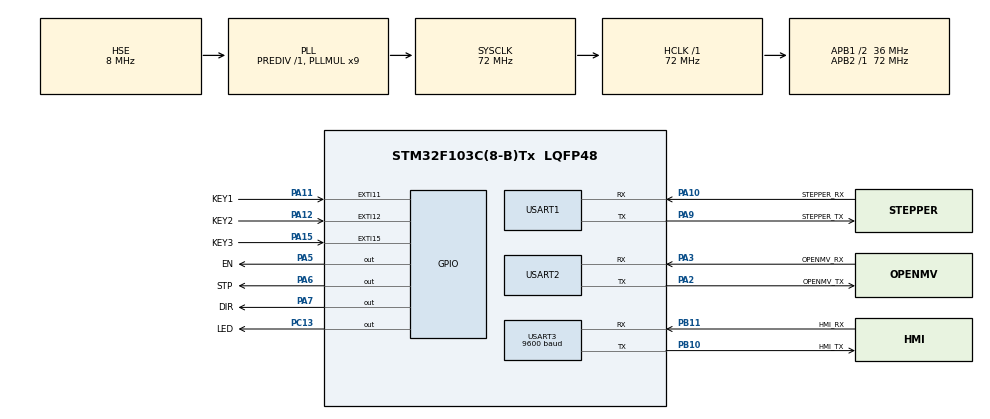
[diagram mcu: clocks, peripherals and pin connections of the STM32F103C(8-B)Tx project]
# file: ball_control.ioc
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Mcu.Family=STM32F1
Mcu.Name=STM32F103C(8-B)Tx
Mcu.Package=LQFP48
NVIC.EXTI15_10_IRQn=true\:1\:0\:true\:false\:true\:true\:true
NVIC.PriorityGroup=NVIC_PRIORITYGROUP_4
NVIC.TIM2_IRQn=true\:2\:0\:true\:false\:true\:true\:true
NVIC.USART2_IRQn=true\:0\:0\:false\:false\:true\:true\:true
NVIC.USART3_IRQn=true\:0\:0\:false\:false\:true\:true\:true
PA10.GPIO_Label=STEPPER_RX
PA10.Mode=Asynchronous
PA10.Signal=USART1_RX
PA11.GPIO_Label=KEY1
PA11.GPIO_ModeDefaultEXTI=GPIO_MODE_IT_FALLING
PA11.GPIO_PuPd=GPIO_PULLUP
PA11.Signal=GPXTI11
PA12.GPIO_Label=KEY2
PA12.GPIO_ModeDefaultEXTI=GPIO_MODE_IT_FALLING
PA12.GPIO_PuPd=GPIO_PULLUP
PA12.Signal=GPXTI12
PA13.Mode=Serial_Wire
PA13.Signal=SYS_JTMS-SWDIO
PA14.Mode=Serial_Wire
PA14.Signal=SYS_JTCK-SWCLK
PA15.GPIO_Label=KEY3
PA15.GPIO_ModeDefaultEXTI=GPIO_MODE_IT_FALLING
PA15.GPIO_PuPd=GPIO_PULLUP
PA15.Signal=GPXTI15
PA2.GPIO_Label=OPENMV_TX
PA2.Mode=Asynchronous
PA2.Signal=USART2_TX
PA3.GPIO_Label=OPENMV_RX
PA3.Mode=Asynchronous
PA3.Signal=USART2_RX
PA5.GPIO_Label=EN
PA5.PinState=GPIO_PIN_SET
PA5.Signal=GPIO_Output
PA6.GPIO_Label=STP
PA6.GPIO_Speed=GPIO_SPEED_FREQ_HIGH
PA6.Signal=GPIO_Output
PA7.GPIO_Label=DIR
PA7.GPIO_Speed=GPIO_SPEED_FREQ_HIGH
PA7.Signal=GPIO_Output
PA9.GPIO_Label=STEPPER_TX
PA9.Mode=Asynchronous
PA9.Signal=USART1_TX
PB10.GPIO_Label=HMI_TX
PB10.Mode=Asynchronous
PB10.Signal=USART3_TX
PB11.GPIO_Label=HMI_RX
PB11.Mode=Asynchronous
PB11.Signal=USART3_RX
PC13-TAMPER-RTC.GPIO_Label=LED
PC13-TAMPER-RTC.Signal=GPIO_Output
PD0-OSC_IN.Mode=HSE-External-Oscillator
PD0-OSC_IN.Signal=RCC_OSC_IN
PD1-OSC_OUT.Mode=HSE-External-Oscillator
PD1-OSC_OUT.Signal=RCC_OSC_OUT
ProjectManager.HeapSize=0x200
ProjectManager.StackSize=0x400
ProjectManager.TargetToolchain=SW4STM32
RCC.AHBFreq_Value=72000000
RCC.APB1CLKDivider=RCC_HCLK_DIV2
RCC.APB1Freq_Value=36000000
RCC.APB1TimFreq_Value=72000000
RCC.APB2Freq_Value=72000000
RCC.APB2TimFreq_Value=72000000
RCC.HCLKFreq_Value=72000000
RCC.PLLMUL=RCC_PLL_MUL9
RCC.PLLSourceVirtual=RCC_PLLSOURCE_HSE
RCC.SYSCLKFreq_VALUE=72000000
RCC.SYSCLKSource=RCC_SYSCLKSOURCE_PLLCLK
RCC.USBFreq_Value=72000000
TIM2.AutoReloadPreload=TIM_AUTORELOAD_PRELOAD_ENABLE
TIM2.Period=5000-1
TIM2.Prescaler=72-1
USART1.VirtualMode=VM_ASYNC
USART2.VirtualMode=VM_ASYNC
USART3.BaudRate=9600
USART3.VirtualMode=VM_ASYNC
VP_TIM2_VS_ClockSourceINT.Mode=Internal
board=custom

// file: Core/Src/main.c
/* USER CODE BEGIN Header */
/**
  ******************************************************************************
  * @file           : main.c
  * @brief          : Main program body
  ******************************************************************************
  * @attention
  *
  * <h2><center>&copy; Copyright (c) 2022 STMicroelectronics.
  * All rights reserved.</center></h2>
  *
  * This software component is licensed by ST under BSD 3-Clause license,
  * the "License"; You may not use this file except in compliance with the
  * License. You may obtain a copy of the License at:
  *                        opensource.org/licenses/BSD-3-Clause
  *
  ******************************************************************************
  */
/* USER CODE END Header */
#include "main.h"
#include "tim.h"
#include "usart.h"
#include "gpio.h"

/* USER CODE BEGIN Includes */
#include "pid.h"
#include "hmi.h"
#include "stepper.h"
/* USER CODE END Includes */

/* USER CODE BEGIN PV */
uint32_t target_position = 0;
uint32_t now_position = 0;
PID_Datatype pid;
extern int target_pulse;
/* USER CODE END PV */

void SystemClock_Config(void);

/* USER CODE BEGIN PFP */
void set_pid();

/* USER CODE END PFP */

int main(void) {

    /* MCU Configuration--------------------------------------------------------*/

    /* Reset of all peripherals, Initializes the Flash interface and the Systick. */
    HAL_Init();

    /* Configure the system clock */
    SystemClock_Config();

    /* Initialize all configured peripherals */
    MX_GPIO_Init();
    MX_USART1_UART_Init();
    MX_USART3_UART_Init();
    MX_USART2_UART_Init();
    MX_TIM2_Init();
    /* USER CODE BEGIN 2 */
    hmi_init();
    stepper_init();
    set_pid();
    /* USER CODE END 2 */

    /* Infinite loop */
    /* USER CODE BEGIN WHILE */
    while (1) {
        static double u;
        target_pulse = (int) pid_get_u(&pid, target_position, now_position);
        HAL_Delay(100);
        /* USER CODE END WHILE */

    }
}

void SystemClock_Config(void) {
    RCC_OscInitTypeDef RCC_OscInitStruct = {0};
    RCC_ClkInitTypeDef RCC_ClkInitStruct = {0};

    /** Initializes the RCC Oscillators according to the specified parameters
    * in the RCC_OscInitTypeDef structure.
    */
    RCC_OscInitStruct.OscillatorType = RCC_OSCILLATORTYPE_HSE;
    RCC_OscInitStruct.HSEState = RCC_HSE_ON;
    RCC_OscInitStruct.HSEPredivValue = RCC_HSE_PREDIV_DIV1;
    RCC_OscInitStruct.HSIState = RCC_HSI_ON;
    RCC_OscInitStruct.PLL.PLLState = RCC_PLL_ON;
    RCC_OscInitStruct.PLL.PLLSource = RCC_PLLSOURCE_HSE;
    RCC_OscInitStruct.PLL.PLLMUL = RCC_PLL_MUL9;
    if (HAL_RCC_OscConfig(&RCC_OscInitStruct) != HAL_OK) {
        Error_Handler();
    }
    /** Initializes the CPU, AHB and APB buses clocks
    */
    RCC_ClkInitStruct.ClockType = RCC_CLOCKTYPE_HCLK | RCC_CLOCKTYPE_SYSCLK
                                  | RCC_CLOCKTYPE_PCLK1 | RCC_CLOCKTYPE_PCLK2;
    RCC_ClkInitStruct.SYSCLKSource = RCC_SYSCLKSOURCE_PLLCLK;
    RCC_ClkInitStruct.AHBCLKDivider = RCC_SYSCLK_DIV1;
    RCC_ClkInitStruct.APB1CLKDivider = RCC_HCLK_DIV2;
    RCC_ClkInitStruct.APB2CLKDivider = RCC_HCLK_DIV1;

    if (HAL_RCC_ClockConfig(&RCC_ClkInitStruct, FLASH_LATENCY_2) != HAL_OK) {
        Error_Handler();
    }
}

/* USER CODE BEGIN 4 */
void set_pid() {
    pid.Kp = 1;
    pid.Ki = 0;
    pid.Kd = 0;

    pid.integral = 0;
    pid.last_error = 0;

    pid.max_integral = 100;
    pid.min_integral = -100;

    pid.max_u = 100;
    pid.min_u = -100;
}

/* USER CODE END 4 */

void Error_Handler(void) {
    __disable_irq();
    while (1) {
    }
}

/************************ (C) COPYRIGHT STMicroelectronics *****END OF FILE****/
